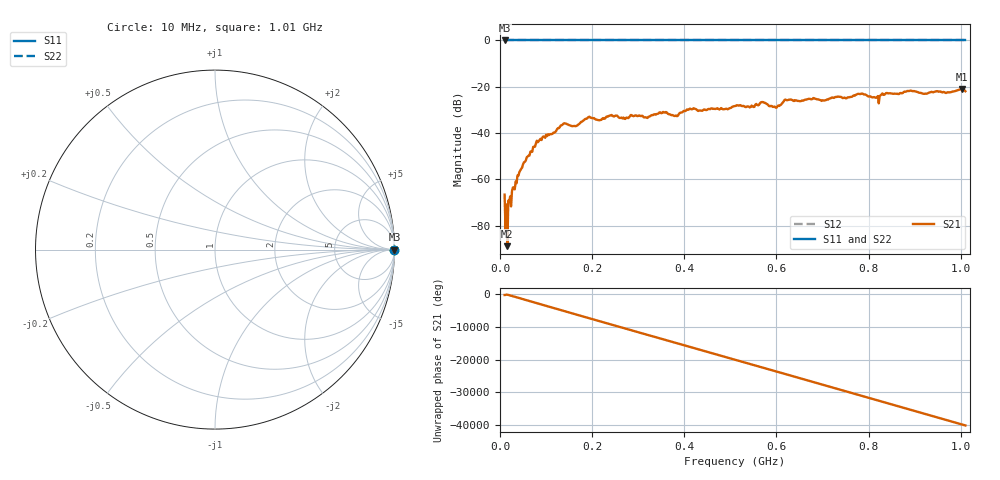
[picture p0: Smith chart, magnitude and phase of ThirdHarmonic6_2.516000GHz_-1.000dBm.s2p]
! 8/17/2025 4:55:30 AM
! C:\ANRITSUVNA\TEMP\TEMP.S2P
! CHANNEL.1
! TR.MEASUREMENT
! RAW.DATA
! RF.CORRECTION.OFF
! AVERAGING.OFF
! IF.BANDWIDTH: 5KHZ
! SWEEPTYPE:  FREQ.SWEEP(Linear)
! Reference Plane Port Info
! PORT:  PORT1  PORT2
! DISTANCE:  0  m  0  m
! TIME:  0  s  0  s
! PHASE.OFFSET:  0  deg.  0  deg.
! LOSS:  0  dB  0  dB
! REF.LOSS:  0  dB  0  dB
! REF.FREQ:  0  Hz  0  Hz
! Power Info
! POWER:  -20  dBm  -20  dBm
! EFF.POWER:  -20  dBm  -20  dBm
! SOURCE.ATTEN:  0  dB  0  dB
! TEST.ATTEN:  0  dB  0  dB
# GHZ S RI R 50.0
! FREQ.GHZ  S11RE  S11IM  S21RE  S21IM  S12RE  S12IM  S22RE  S22IM
!; PortSelection: Port_12
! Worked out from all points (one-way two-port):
!   501 points, 10 MHz to 1.01 GHz, reference 50 ohm
!   highest |S21| = -20.99 dB at 1.002 GHz (marker M1); lowest = -88.9 dB at 16 MHz (marker M2)
!   lowest |S11| = 0.0 dB at 10 MHz (marker M3)
!   |S11| at or under -10 dB: nowhere
!   |S22| runs from 0.0 to 0.0 dB; largest |S21 - S12| = 1.1
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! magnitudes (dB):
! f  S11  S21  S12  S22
! 10 MHz  0.0  -66.6  0.0  0.0
! 16 MHz  0.0  -88.9  0.0  0.0
! 22 MHz  0.0  -67.4  0.0  0.0
! 42 MHz  0.0  -56.9  0.0  0.0
! 82 MHz  0.0  -44.0  0.0  0.0
! 136 MHz  0.0  -36.3  0.0  0.0
! 164 MHz  0.0  -37.1  0.0  0.0
! 178 MHz  0.0  -35.1  0.0  0.0
! 194 MHz  0.0  -33.0  0.0  0.0
! 344 MHz  0.0  -31.6  0.0  0.0
! 382 MHz  0.0  -32.4  0.0  0.0
! 410 MHz  0.0  -29.8  0.0  0.0
! 510 MHz  0.0  -28.4  0.0  0.0
! 570 MHz  0.0  -26.6  0.0  0.0
! 596 MHz  0.0  -28.6  0.0  0.0
! 622 MHz  0.0  -25.8  0.0  0.0
! 678 MHz  0.0  -25.3  0.0  0.0
! 782 MHz  0.0  -23.2  0.0  0.0
! 818 MHz  0.0  -24.6  0.0  0.0
! 844 MHz  0.0  -22.8  0.0  0.0
! 1.002 GHz  0.0  -21.0  0.0  0.0
! 1.01 GHz  0.0  -21.9  0.0  0.0
